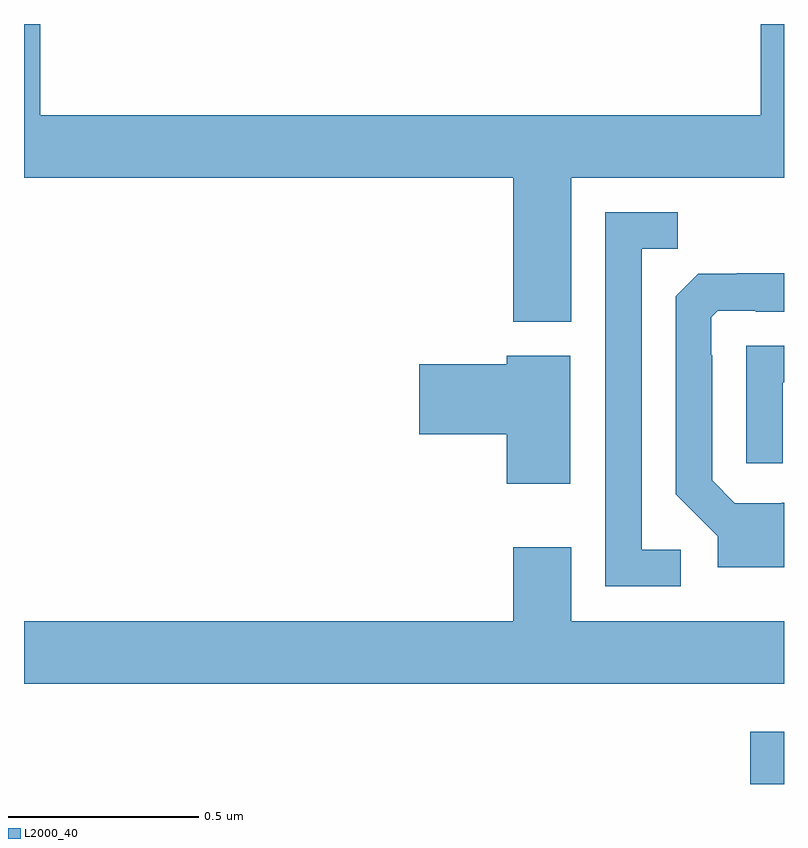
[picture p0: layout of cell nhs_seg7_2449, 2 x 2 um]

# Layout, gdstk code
import gdstk
lib = gdstk.Library(unit=1e-6, precision=1e-09)
def R(c, l, rs):  # rectangles x0, y0, x1, y1
    for r in rs: c.add(gdstk.rectangle(r[:2], r[2:], *l))
def P(c, l, *ps):  # polygons
    for p in ps: c.add(gdstk.Polygon(p, *l))
L2000_40 = (2000, 40)

nhs_seg7_2449 = lib.new_cell('nhs_seg7_2449')
R(nhs_seg7_2449, L2000_40, [(146.911,1019,147,1019.137)])
P(nhs_seg7_2449, L2000_40, [(146.44,1020.596),(147,1020.596),(147,1021),(146.939,1021),(146.939,1020.76),(145.043,1020.76),(145.043,1021),(145,1021),(145,1020.596),(146.288,1020.596),(146.288,1020.216),(146.44,1020.216)],
  [(146.728,1019.616),(146.625,1019.616),(146.625,1020.409),(146.721,1020.409),(146.721,1020.504),(146.529,1020.504),(146.529,1019.52),(146.728,1019.52)],
  [(147,1019.74),(146.994,1019.74),(146.994,1019.739),(146.871,1019.739),(146.811,1019.799),(146.811,1020.128),(146.808,1020.128),(146.808,1020.228),(146.826,1020.246),(146.926,1020.246),(146.926,1020.243),(147,1020.243),(147,1020.344),(146.875,1020.344),(146.875,1020.343),(146.774,1020.343),(146.715,1020.284),(146.715,1019.762),(146.825,1019.652),(146.825,1019.57),(147,1019.57)],
  [(146.997,1020.057),(147,1020.057),(147,1020.153),(146.901,1020.153),(146.901,1019.844),(146.997,1019.844)],
  [(146.437,1020.127),(146.27,1020.127),(146.27,1020.104),(146.04,1020.104),(146.04,1019.921),(146.27,1019.921),(146.27,1019.79),(146.437,1019.79)],
  [(147,1019.428),(146.44,1019.428),(146.44,1019.623),(146.288,1019.623),(146.288,1019.428),(145,1019.428),(145,1019.264),(147,1019.264)])

lib.write_gds('nhs_seg7_2449.gds')
